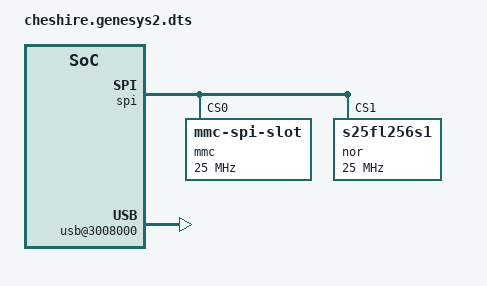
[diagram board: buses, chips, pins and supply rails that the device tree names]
// Copyright 2024 ETH Zurich and University of Bologna.
// Solderpad Hardware License, Version 0.51, see LICENSE for details.
// SPDX-License-Identifier: SHL-0.51
//
// Cyril Koenig <cykoenig@iis.ee.ethz.ch>

/include/ "cheshire.dtsi"

&spi {
  // Choose NOR in "boot-with", as it is only considered if `mmc` probe fails.
  // Thus, we boot from MMC (SD) if available and NOR flash otherwise.
  boot-with = <1>;
  mmc@0 {
    compatible = "mmc-spi-slot";
    reg = <0>; // CS
    spi-max-frequency = <25000000>;
    voltage-ranges = <3300 3300>;
    disable-wp;
  };
  nor@1 {
    compatible = "s25fl256s1", "jedec,spi-nor";
    reg = <1>; // CS
    spi-max-frequency = <25000000>;
    disable-wp;
  };
};

&soc {
  usb@3008000 {
    compatible = "generic-ohci";
    reg = <0x0 0x3008000 0x0 0x1000>;
    interrupt-parent = <&PLIC0>;
    interrupts = <19>;
  };
};
